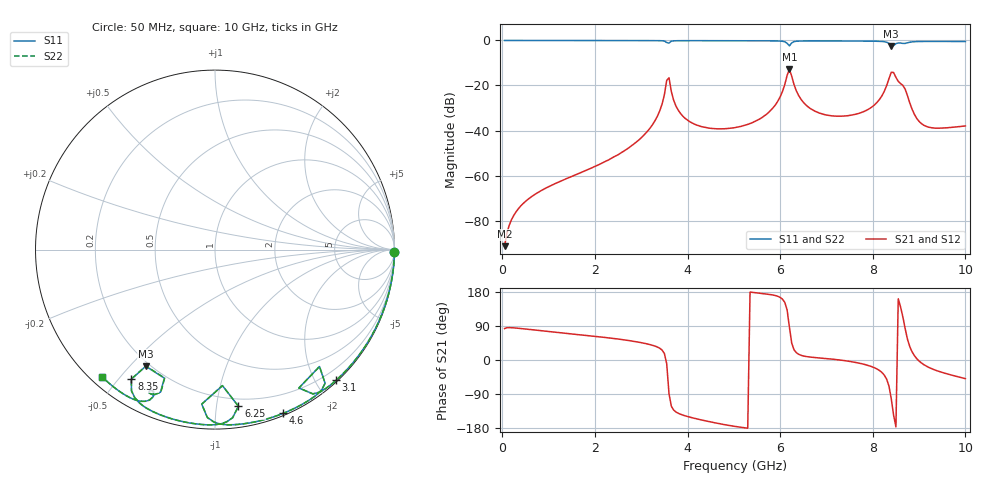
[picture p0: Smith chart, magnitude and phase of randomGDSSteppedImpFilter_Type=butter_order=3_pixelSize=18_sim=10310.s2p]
! freq	dB(S11)	phase(S11)	dB(S12)	phase(S12)
!  dB(S21)	phase(S21)	dB(S22)	phase(S22)
!S-par simulation data
#  GHz  S  DB  R 50
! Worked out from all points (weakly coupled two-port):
!   200 points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, 50 MHz to 10 GHz, reference 50 ohm
!   highest |S21| = -12.86 dB at 6.2 GHz (marker M1); lowest = -91.4 dB at 50 MHz (marker M2)
!   lowest |S11| = -2.4 dB at 8.4 GHz (marker M3), VSWR 7.19, Z = 9.15 - j27.7 ohm
!   |S11| at or under -10 dB: nowhere
!   |S22| runs from -2.4 to 0.0 dB; largest |S21 - S12| = 0
!   S11 on the Smith chart (normalised r, x): 50 MHz: open; 3.1 GHz: 0.02, -2.29; 4.6 GHz: 0.02, -1.50; 6.25 GHz: 0.15, -1.15; 8.35 GHz: 0.10, -0.54; 10 GHz: 0.03, -0.45
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0.05  -0.00 -0.8  -91.36 83.0  -91.36 83.0  -0.00 -0.8
0.75  -0.01 -11.6  -67.76 78.4  -67.76 78.4  -0.01 -11.6
1.75  -0.03 -26.8  -58.19 65.5  -58.19 65.5  -0.03 -26.8
3.1  -0.07 -47.1  -41.12 43.2  -41.12 43.2  -0.07 -47.1
3.4  -0.10 -52.5  -31.27 31.0  -31.27 31.0  -0.10 -52.5
3.6  -1.17 -48.2  -16.56 -89.0  -16.56 -89.0  -1.17 -48.2
3.7  -0.17 -52.6  -26.55 -132.0  -26.55 -132.0  -0.17 -52.6
3.9  -0.10 -56.9  -33.65 -145.5  -33.65 -145.5  -0.10 -56.9
4.6  -0.10 -67.3  -39.19 -166.0  -39.19 -166.0  -0.10 -67.3
5.05  -0.12 -73.7  -38.60 -175.7  -38.60 -175.7  -0.12 -73.7
5.85  -0.19 -85.6  -29.85 171.4  -29.85 171.4  -0.19 -85.6
6.2  -2.40 -86.9  -12.86 86.4  -12.86 86.4  -2.39 -86.9
6.25  -1.09 -81.5  -15.90 44.3  -15.90 44.3  -1.08 -81.5
6.4  -0.27 -87.7  -24.48 15.0  -24.48 15.0  -0.27 -87.7
6.7  -0.20 -93.3  -30.81 7.0  -30.81 7.0  -0.20 -93.3
7.8  -0.27 -108.9  -31.63 -11.0  -31.63 -11.0  -0.27 -108.9
8.15  -0.39 -115.4  -26.04 -28.2  -26.04 -28.2  -0.39 -115.4
8.35  -1.32 -122.9  -16.94 -69.0  -16.94 -69.0  -1.33 -122.9
8.4  -2.43 -120.7  -14.12 -102.6  -14.12 -102.6  -2.45 -120.7
8.65  -1.30 -115.0  -19.96 113.6  -19.96 113.6  -1.29 -114.9
9.05  -0.45 -118.8  -36.92 -7.8  -36.92 -7.8  -0.45 -118.8
10  -0.47 -131.7  -37.96 -49.2  -37.96 -49.2  -0.47 -131.7
